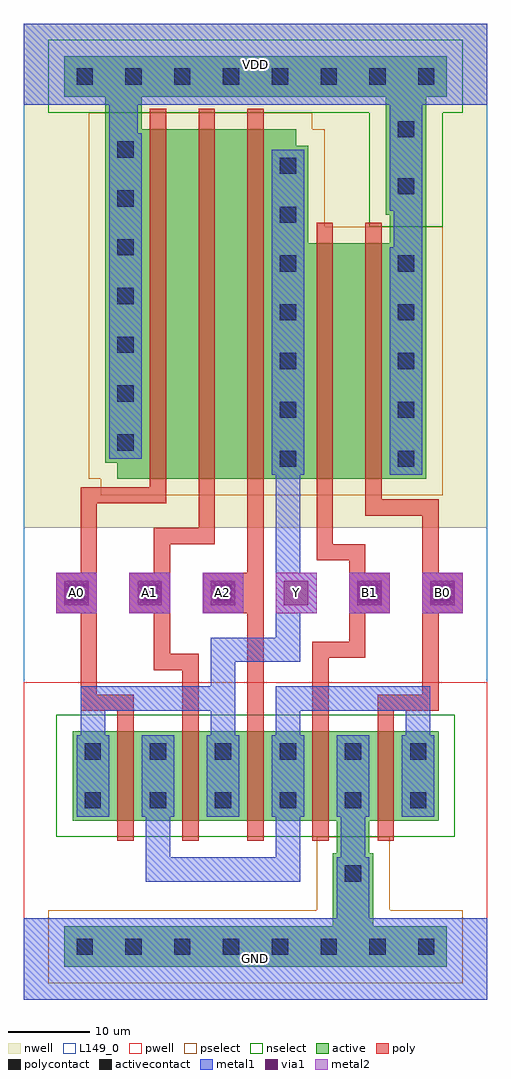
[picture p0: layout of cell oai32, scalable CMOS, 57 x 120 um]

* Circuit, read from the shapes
.subckt oai32 A0 A1 A2 B0 B1 GND VDD Y
M1 n1 A0 Y GND nfet w=11u l=2u
M2 Y A1 n1 GND nfet w=11u l=2u
M3 n1 A2 Y GND nfet w=11u l=2u
M4 GND B1 n1 GND nfet w=11u l=2u
M5 n1 B0 GND GND nfet w=11u l=2u
M6 n2 A0 VDD VDD pfet w=43u l=2u
M7 n3 A1 n2 VDD pfet w=43u l=2u
M8 Y A2 n3 VDD pfet w=43u l=2u
M9 n4 B1 Y VDD pfet w=29u l=2u
M10 VDD B0 n4 VDD pfet w=29u l=2u
.ends

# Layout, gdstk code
import gdstk
lib = gdstk.Library(unit=1e-6, precision=1e-09)
def R(c, l, rs):  # rectangles x0, y0, x1, y1
    for r in rs: c.add(gdstk.rectangle(r[:2], r[2:], *l))
def A(c, l, x, y, w, h, nx, ny, dx, dy):  # array of equal rectangles
    R(c, l, [(x+i*dx, y+j*dy, x+i*dx+w, y+j*dy+h) for i in range(nx) for j in range(ny)])
def P(c, l, *ps):  # polygons
    for p in ps: c.add(gdstk.Polygon(p, *l))
pwell = (41, 0)
nwell = (42, 0)
active = (43, 0)
pselect = (44, 0)
nselect = (45, 0)
poly = (46, 0)
polycontact = (47, 0)
activecontact = (48, 0)
metal1 = (49, 0)
via1 = (50, 0)
metal2 = (51, 0)
L149_0 = (149, 0)

via = lib.new_cell('via')
R(via, metal1, [(-2.5,-2.5,2.5,2.5)])
R(via, via1, [(-1.5,-1.5,1.5,1.5)])
R(via, metal2, [(-2.5,-2.5,2.5,2.5)])

oai32 = lib.new_cell('oai32')
R(oai32, pwell, [(0,0,57,39), (0,16,57,39)])
R(oai32, nwell, [(0,58,57,120)])
P(oai32, nwell, [(5.5,58),(5.5,60),(4,60),(4,113),(39.5,113),(39.5,111),(41,111),(41,99),(55.5,99),(55.5,58)])
R(oai32, active, [(5,4,52,9), (38,9,43,18), (38.5,18,42.5,22), (6,22,11.5,33), (6,22,51,33), (45.5,22,51,33), (44,64,49.5,93), (45,93,49.5,96.5), (44.5,96.5,49.5,111), (10,107,14.5,111), (5,111,52,116)])
P(oai32, active, [(11.5,64),(11.5,66),(10,66),(10,107),(33.5,107),(33.5,105),(35,105),(35,93),(49.5,93),(49.5,64)],
  [(11.5,64),(11.5,66),(10,66),(10,107),(15.5,107),(15.5,64)])
R(oai32, pselect, [(3,2,54,11), (36,11,45,20)])
P(oai32, pselect, [(9.5,62),(9.5,64),(8,64),(8,109),(35.5,109),(35.5,107),(37,107),(37,95),(51.5,95),(51.5,62)])
R(oai32, nselect, [(4,20,53,35), (42.5,95,51.5,109), (3,109,54,118)])
A(oai32, poly, 11.5, 19.5, 2, 2.5, 5, 2, 8, 13.5)
A(oai32, poly, 11.5, 22, 2, 11, 5, 1, 8, 0)
A(oai32, poly, 4, 47.5, 5, 5, 3, 1, 9, 0)
A(oai32, poly, 15.5, 61.5, 2, 2.5, 3, 2, 6, 45.5)
A(oai32, poly, 15.5, 64, 2, 43, 3, 1, 6, 0)
R(oai32, poly, [(27,47.5,27.5,52.5), (40,47.5,45,52.5), (49,47.5,54,52.5), (36,61.5,38,64), (42,61.5,44,64), (36,64,38,93), (42,64,44,93), (36,93,38,95.5), (42,93,44,95.5)])
A(oai32, polycontact, 5.5, 49, 2, 2, 3, 1, 9, 0)
R(oai32, polycontact, [(41.5,49,43.5,51), (50.5,49,52.5,51)])
A(oai32, activecontact, 6.5, 5.5, 2, 2, 8, 2, 6, 107)
A(oai32, activecontact, 7.5, 23.5, 2, 2, 6, 2, 8, 6)
A(oai32, activecontact, 31.5, 65.5, 2, 2, 1, 7, 0, 6)
A(oai32, activecontact, 46, 65.5, 2, 2, 1, 5, 0, 6)
A(oai32, activecontact, 11.5, 67.5, 2, 2, 1, 7, 0, 6)
R(oai32, activecontact, [(39.5,14.5,41.5,16.5), (46,99,48,101), (46,106,48,108)])
A(oai32, metal1, 6.5, 22.5, 4, 10, 6, 1, 8, 0)
A(oai32, metal1, 4.5, 48, 4, 4, 3, 1, 9, 0)
R(oai32, metal1, [(0,0,57,10), (38.5,10,42.5,17.5), (39,17.5,42,22.5), (40.5,48,44.5,52), (49.5,48,53.5,52), (30.5,64.5,34.5,104.5), (45,64.5,49,92.5), (10.5,66.5,14.5,106.5), (45.5,92.5,49,97), (45,97,49,110), (10.5,106.5,14,110), (0,110,57,120)])
A(oai32, metal2, 4, 47.5, 5, 5, 6, 1, 9, 0)
R(oai32, L149_0, [(0,0,57,120)])
oai32.add(gdstk.FlexPath([(37,61.5),(37,55),(41,55),(41,52.5)], 2, ends="flush", simple_path=True, layer=46, datatype=0))  # poly
oai32.add(gdstk.FlexPath([(43.5,36.5),(50,36.5),(50,47.5)], 2, ends="flush", simple_path=True, layer=46, datatype=0))  # poly
oai32.add(gdstk.FlexPath([(42,60.5),(50,60.5),(50,52.5)], 2, ends="flush", simple_path=True, layer=46, datatype=0))  # poly
oai32.add(gdstk.FlexPath([(13.5,36.5),(8,36.5),(8,47.5)], 2, ends="flush", simple_path=True, layer=46, datatype=0))  # poly
oai32.add(gdstk.FlexPath([(17.5,62),(8,62),(8,52.5)], 2, ends="flush", simple_path=True, layer=46, datatype=0))  # poly
oai32.add(gdstk.FlexPath([(28.5,61.5),(28.5,35.5)], 2, ends="flush", simple_path=True, layer=46, datatype=0))  # poly
oai32.add(gdstk.FlexPath([(17,47.5),(17,41.5),(20.5,41.5),(20.5,35.5)], 2, ends="flush", simple_path=True, layer=46, datatype=0))  # poly
oai32.add(gdstk.FlexPath([(41,47.5),(41,43),(36.5,43),(36.5,35.5)], 2, ends="flush", simple_path=True, layer=46, datatype=0))  # poly
oai32.add(gdstk.FlexPath([(22.5,61.5),(22.5,57),(17,57),(17,52.5)], 2, ends="flush", simple_path=True, layer=46, datatype=0))  # poly
oai32.add(gdstk.FlexPath([(32.5,52.5),(32.5,64.5)], 3, ends="flush", simple_path=True, layer=49, datatype=0))  # metal1
oai32.add(gdstk.FlexPath([(48.5,32.5),(48.5,37),(32.5,37),(32.5,32.5)], 3, ends="flush", simple_path=True, layer=49, datatype=0))  # metal1
oai32.add(gdstk.FlexPath([(24.5,32.5),(24.5,37),(8.5,37),(8.5,32.5)], 3, ends="flush", simple_path=True, layer=49, datatype=0))  # metal1
oai32.add(gdstk.FlexPath([(32.5,22.5),(32.5,16),(16.5,16),(16.5,22.5)], 3, ends="flush", simple_path=True, layer=49, datatype=0))  # metal1
oai32.add(gdstk.FlexPath([(32.5,47.5),(32.5,43),(24.5,43),(24.5,38.5)], 3, ends="flush", simple_path=True, layer=49, datatype=0))  # metal1
oai32.add(gdstk.Reference(via, (33.5,50)))
oai32.add(gdstk.Reference(via, (15.5,50)))
oai32.add(gdstk.Reference(via, (42.5,50)))
oai32.add(gdstk.Reference(via, (24.5,50)))
oai32.add(gdstk.Reference(via, (51.5,50)))
oai32.add(gdstk.Reference(via, (6.5,50)))
oai32.add(gdstk.Label('GND', (28.5,5), layer=2, texttype=0))
oai32.add(gdstk.Label('VDD', (28.5,115), layer=2, texttype=0))
oai32.add(gdstk.Label('Y', (33.5,50), layer=3, texttype=0))
oai32.add(gdstk.Label('A2', (24.5,50), layer=3, texttype=0))
oai32.add(gdstk.Label('B1', (42.5,50), layer=3, texttype=0))
oai32.add(gdstk.Label('A1', (15.5,50), layer=3, texttype=0))
oai32.add(gdstk.Label('A0', (6.5,50), layer=3, texttype=0))
oai32.add(gdstk.Label('B0', (51.5,50), layer=3, texttype=0))
oai32.add(gdstk.Label('GND', (28.5,5), layer=2, texttype=0))
oai32.add(gdstk.Label('VDD', (28.5,115), layer=2, texttype=0))
oai32.add(gdstk.Label('Y', (33.5,50), layer=3, texttype=0))
oai32.add(gdstk.Label('A2', (24.5,50), layer=3, texttype=0))
oai32.add(gdstk.Label('B1', (42.5,50), layer=3, texttype=0))
oai32.add(gdstk.Label('A1', (15.5,50), layer=3, texttype=0))
oai32.add(gdstk.Label('A0', (6.5,50), layer=3, texttype=0))
oai32.add(gdstk.Label('B0', (51.5,50), layer=3, texttype=0))

lib.write_gds('oai32.gds')
